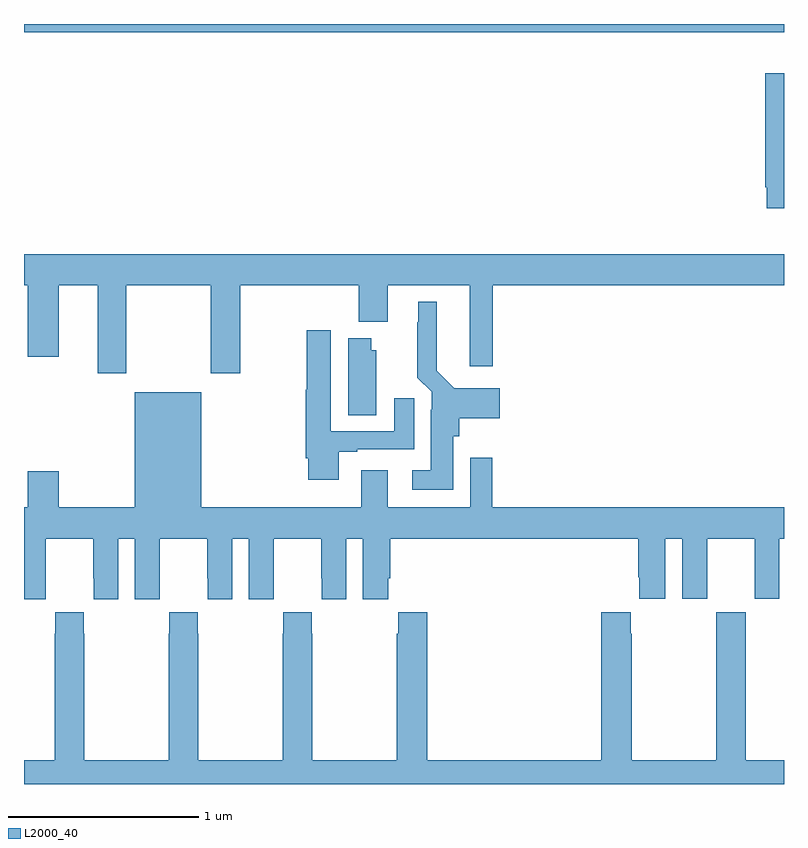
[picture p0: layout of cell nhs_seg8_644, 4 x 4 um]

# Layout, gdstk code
import gdstk
lib = gdstk.Library(unit=1e-6, precision=1e-09)
def R(c, l, rs):  # rectangles x0, y0, x1, y1
    for r in rs: c.add(gdstk.rectangle(r[:2], r[2:], *l))
def P(c, l, *ps):  # polygons
    for p in ps: c.add(gdstk.Polygon(p, *l))
L2000_40 = (2000, 40)

nhs_seg8_644 = lib.new_cell('nhs_seg8_644')
R(nhs_seg8_644, L2000_40, [(153,1093.856,157,1093.9)])
P(nhs_seg8_644, L2000_40, [(157,1093.64),(156.901,1093.64),(156.901,1093.042),(156.909,1093.042),(156.909,1092.93),(157,1092.93)],
  [(153.537,1092.524),(153.982,1092.524),(153.982,1092.063),(154.137,1092.063),(154.137,1092.524),(154.763,1092.524),(154.763,1092.332),(154.915,1092.332),(154.915,1092.524),(155.345,1092.524),(155.345,1092.099),(155.468,1092.099),(155.468,1092.524),(157,1092.524),(157,1092.688),(153,1092.688),(153,1092.524),(153.02,1092.524),(153.02,1092.15),(153.184,1092.15),(153.184,1092.524),(153.389,1092.524),(153.389,1092.063),(153.537,1092.063)],
  [(155.26,1091.73),(155.291,1091.73),(155.291,1091.825),(155.503,1091.825),(155.503,1091.983),(155.265,1091.983),(155.173,1092.076),(155.173,1092.439),(155.075,1092.439),(155.075,1092.329),(155.071,1092.329),(155.071,1092.038),(155.145,1091.964),(155.145,1091.87),(155.141,1091.87),(155.141,1091.551),(155.043,1091.551),(155.043,1091.45),(155.26,1091.45)],
  [(154.657,1091.649),(154.753,1091.649),(154.753,1091.661),(155.053,1091.661),(155.053,1091.929),(154.949,1091.929),(154.949,1091.757),(154.615,1091.757),(154.615,1092.289),(154.489,1092.289),(154.489,1091.976),(154.484,1091.976),(154.484,1091.614),(154.496,1091.614),(154.496,1091.502),(154.657,1091.502)],
  [(154.855,1092.183),(154.828,1092.183),(154.828,1092.247),(154.706,1092.247),(154.706,1091.842),(154.855,1091.842)],
  [(153.114,1090.984),(153.115,1090.984),(153.115,1091.192),(153.365,1091.192),(153.365,1090.984),(153.366,1090.984),(153.366,1090.872),(153.496,1090.872),(153.496,1091.192),(153.584,1091.192),(153.584,1090.872),(153.714,1090.872),(153.714,1090.984),(153.715,1090.984),(153.715,1091.192),(153.965,1091.192),(153.965,1090.984),(153.966,1090.984),(153.966,1090.872),(154.096,1090.872),(154.096,1091.192),(154.184,1091.192),(154.184,1090.872),(154.314,1090.872),(154.314,1090.984),(154.315,1090.984),(154.315,1091.192),(154.565,1091.192),(154.565,1090.984),(154.566,1090.984),(154.566,1090.872),(154.696,1090.872),(154.696,1091.192),(154.784,1091.192),(154.784,1090.872),(154.918,1090.872),(154.918,1090.984),(154.928,1090.984),(154.928,1091.192),(156.233,1091.192),(156.233,1090.987),(156.239,1090.987),(156.239,1090.875),(156.376,1090.875),(156.376,1091.192),(156.464,1091.192),(156.464,1090.875),(156.595,1090.875),(156.595,1091.192),(156.845,1091.192),(156.845,1090.875),(156.976,1090.875),(156.976,1091.192),(157,1091.192),(157,1091.356),(155.465,1091.356),(155.465,1091.617),(155.349,1091.617),(155.349,1091.356),(154.915,1091.356),(154.915,1091.551),(154.775,1091.551),(154.775,1091.356),(153.934,1091.356),(153.934,1091.962),(153.584,1091.962),(153.584,1091.356),(153.184,1091.356),(153.184,1091.545),(153.02,1091.545),(153.02,1091.356),(153,1091.356),(153,1090.872),(153.114,1090.872)],
  [(157,1090.024),(156.798,1090.024),(156.798,1090.804),(156.643,1090.804),(156.643,1090.024),(156.198,1090.024),(156.198,1090.691),(156.193,1090.691),(156.193,1090.804),(156.038,1090.804),(156.038,1090.024),(155.123,1090.024),(155.123,1090.804),(154.969,1090.804),(154.969,1090.691),(154.963,1090.691),(154.963,1090.024),(154.518,1090.024),(154.518,1090.691),(154.515,1090.691),(154.515,1090.804),(154.365,1090.804),(154.365,1090.691),(154.363,1090.691),(154.363,1090.024),(153.918,1090.024),(153.918,1090.691),(153.915,1090.691),(153.915,1090.804),(153.765,1090.804),(153.765,1090.691),(153.763,1090.691),(153.763,1090.024),(153.318,1090.024),(153.318,1090.691),(153.315,1090.691),(153.315,1090.804),(153.165,1090.804),(153.165,1090.691),(153.163,1090.691),(153.163,1090.024),(153,1090.024),(153,1089.9),(157,1089.9)])

lib.write_gds('nhs_seg8_644.gds')
